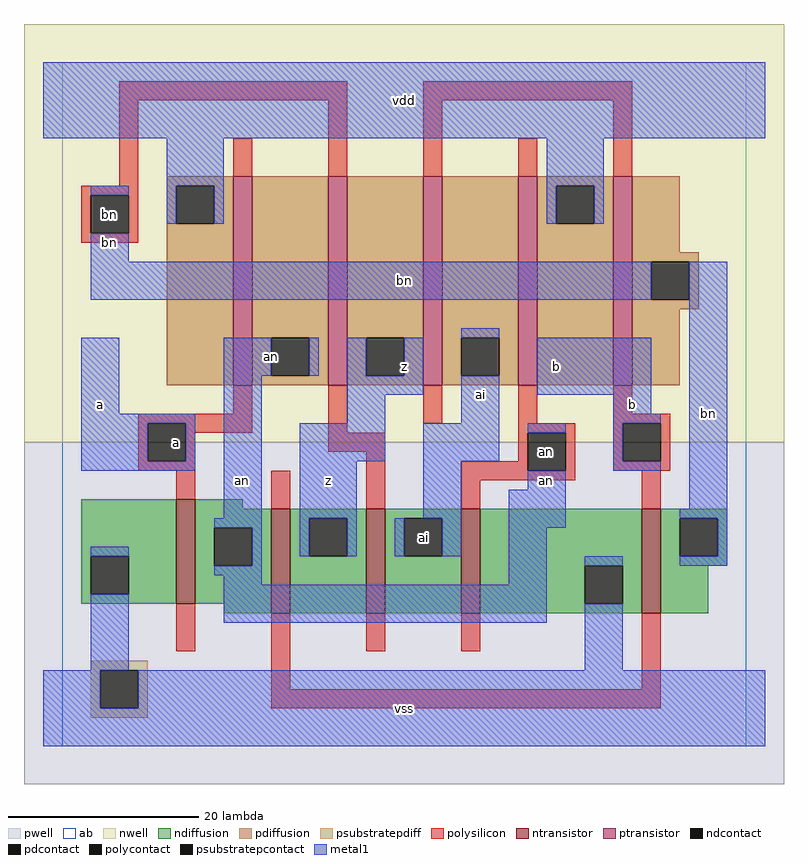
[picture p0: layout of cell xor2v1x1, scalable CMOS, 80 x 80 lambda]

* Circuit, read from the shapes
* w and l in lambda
.subckt xor2v1x1 a ai an b bn vdd vss z
M1 an a vss vss nfet w=11 l=2
M2 z b an vss nfet w=11 l=2
M3 ai bn z vss nfet w=11 l=2
M4 vss an ai vss nfet w=11 l=2
M5 bn b vss vss nfet w=11 l=2
M6 an a vdd n1 pfet w=22 l=2
M7 z bn an n1 pfet w=22 l=2
M8 ai b z n1 pfet w=22 l=2
M9 vdd an ai n1 pfet w=22 l=2
M10 bn b vdd n1 pfet w=22 l=2
.ends

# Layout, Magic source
magic
tech scmos
<< ab >>
rect 0 0 72 72
<< pwell >>
rect -4 -4 76 32
<< nwell >>
rect -4 32 76 76
<< polysilicon >>
rect 6 68 30 70
rect 6 59 8 68
rect 18 60 20 64
rect 28 60 30 68
rect 38 68 60 70
rect 38 60 40 68
rect 48 60 50 64
rect 58 60 60 68
rect 2 58 8 59
rect 2 54 3 58
rect 7 54 8 58
rect 2 53 8 54
rect 18 35 20 38
rect 8 34 20 35
rect 8 30 9 34
rect 13 33 20 34
rect 28 33 30 38
rect 38 34 40 38
rect 48 34 50 38
rect 58 35 60 38
rect 58 34 64 35
rect 48 33 54 34
rect 13 30 14 33
rect 28 31 34 33
rect 8 29 14 30
rect 12 26 14 29
rect 22 25 24 29
rect 32 25 34 31
rect 48 30 49 33
rect 42 29 49 30
rect 53 29 54 33
rect 58 30 59 34
rect 63 30 64 34
rect 58 29 64 30
rect 42 28 54 29
rect 42 25 44 28
rect 61 25 63 29
rect 12 10 14 15
rect 22 6 24 14
rect 32 10 34 14
rect 42 10 44 14
rect 61 6 63 14
rect 22 4 63 6
<< ndiffusion >>
rect 2 20 12 26
rect 2 16 3 20
rect 7 16 12 20
rect 2 15 12 16
rect 14 25 19 26
rect 14 23 22 25
rect 14 19 16 23
rect 20 19 22 23
rect 14 15 22 19
rect 17 14 22 15
rect 24 24 32 25
rect 24 20 26 24
rect 30 20 32 24
rect 24 14 32 20
rect 34 24 42 25
rect 34 20 36 24
rect 40 20 42 24
rect 34 14 42 20
rect 44 19 61 25
rect 44 15 55 19
rect 59 15 61 19
rect 44 14 61 15
rect 63 24 70 25
rect 63 20 65 24
rect 69 20 70 24
rect 63 19 70 20
rect 63 14 68 19
<< pdiffusion >>
rect 11 59 18 60
rect 11 55 12 59
rect 16 55 18 59
rect 11 38 18 55
rect 20 43 28 60
rect 20 39 22 43
rect 26 39 28 43
rect 20 38 28 39
rect 30 43 38 60
rect 30 39 32 43
rect 36 39 38 43
rect 30 38 38 39
rect 40 43 48 60
rect 40 39 42 43
rect 46 39 48 43
rect 40 38 48 39
rect 50 59 58 60
rect 50 55 52 59
rect 56 55 58 59
rect 50 38 58 55
rect 60 52 65 60
rect 60 51 67 52
rect 60 47 62 51
rect 66 47 67 51
rect 60 46 67 47
rect 60 38 65 46
<< metal1 >>
rect -2 64 74 72
rect 11 59 17 64
rect 3 58 7 59
rect 11 55 12 59
rect 16 55 17 59
rect 51 59 57 64
rect 51 55 52 59
rect 56 55 57 59
rect 3 51 7 54
rect 3 47 62 51
rect 42 43 46 44
rect 2 35 6 43
rect 17 39 22 43
rect 26 39 27 43
rect 30 39 32 43
rect 36 39 38 43
rect 2 34 14 35
rect 2 30 9 34
rect 13 30 14 34
rect 2 29 14 30
rect 17 24 21 39
rect 30 37 38 39
rect 30 34 34 37
rect 42 34 46 39
rect 50 37 62 43
rect 58 35 62 37
rect 58 34 63 35
rect 16 23 21 24
rect 3 20 7 21
rect 20 19 21 23
rect 25 30 34 34
rect 38 30 46 34
rect 49 33 53 34
rect 25 24 31 30
rect 38 24 42 30
rect 58 30 59 34
rect 58 29 63 30
rect 49 27 53 29
rect 25 20 26 24
rect 30 20 31 24
rect 35 20 36 24
rect 40 20 42 24
rect 47 23 53 27
rect 66 25 70 51
rect 65 24 70 25
rect 16 18 21 19
rect 3 8 7 16
rect 17 17 21 18
rect 47 17 51 23
rect 69 20 70 24
rect 17 13 51 17
rect 55 19 59 20
rect 65 19 70 20
rect 55 8 59 15
rect -2 4 4 8
rect 8 4 74 8
rect -2 0 74 4
<< ntransistor >>
rect 12 15 14 26
rect 22 14 24 25
rect 32 14 34 25
rect 42 14 44 25
rect 61 14 63 25
<< ptransistor >>
rect 18 38 20 60
rect 28 38 30 60
rect 38 38 40 60
rect 48 38 50 60
rect 58 38 60 60
<< polycontact >>
rect 3 54 7 58
rect 9 30 13 34
rect 49 29 53 33
rect 59 30 63 34
<< ndcontact >>
rect 3 16 7 20
rect 16 19 20 23
rect 26 20 30 24
rect 36 20 40 24
rect 55 15 59 19
rect 65 20 69 24
<< pdcontact >>
rect 12 55 16 59
rect 22 39 26 43
rect 32 39 36 43
rect 42 39 46 43
rect 52 55 56 59
rect 62 47 66 51
<< psubstratepcontact >>
rect 4 4 8 8
<< psubstratepdiff >>
rect 3 8 9 9
rect 3 4 4 8
rect 8 4 9 8
rect 3 3 9 4
<< labels >>
rlabel polycontact 5 56 5 56 6 bn
rlabel polycontact 51 31 51 31 6 an
rlabel polycontact 12 32 12 32 6 a
rlabel metal1 4 36 4 36 6 a
rlabel metal1 5 53 5 53 6 bn
rlabel metal1 28 28 28 28 6 z
rlabel metal1 19 28 19 28 6 an
rlabel metal1 22 41 22 41 6 an
rlabel metal1 36 4 36 4 6 vss
rlabel ndcontact 38 22 38 22 6 ai
rlabel metal1 51 28 51 28 6 an
rlabel metal1 52 40 52 40 6 b
rlabel metal1 44 37 44 37 6 ai
rlabel metal1 36 40 36 40 6 z
rlabel metal1 36 68 36 68 6 vdd
rlabel metal1 60 36 60 36 6 b
rlabel metal1 68 35 68 35 6 bn
rlabel metal1 36 49 36 49 6 bn
<< end >>
